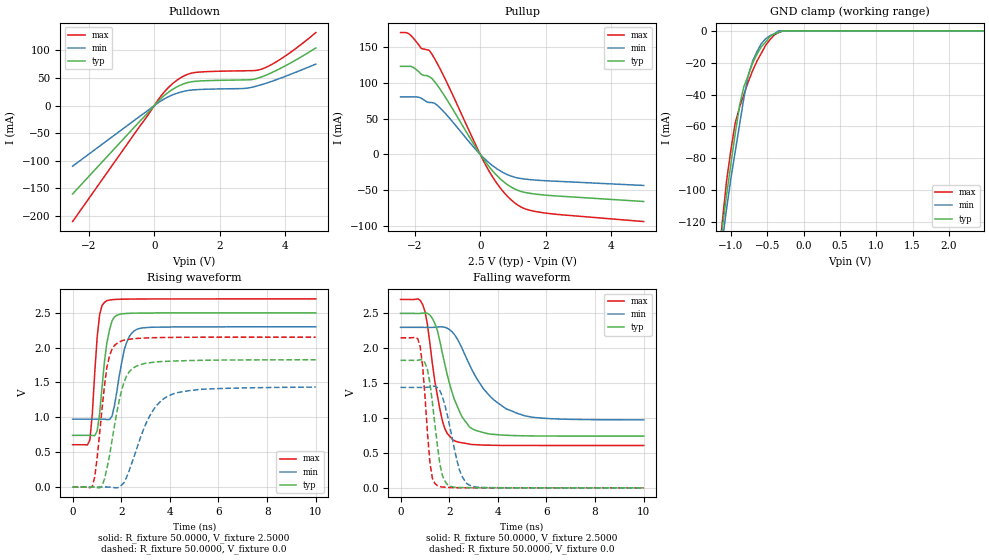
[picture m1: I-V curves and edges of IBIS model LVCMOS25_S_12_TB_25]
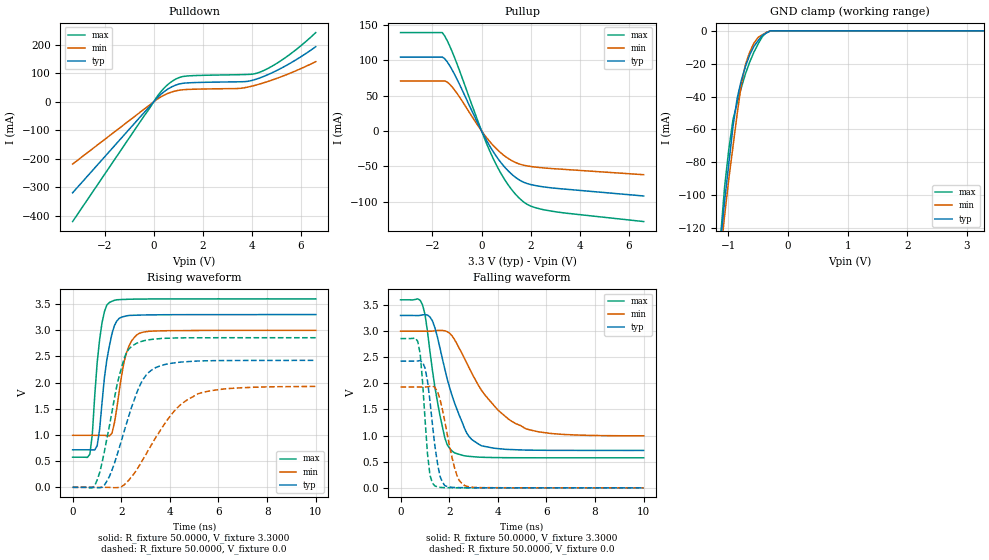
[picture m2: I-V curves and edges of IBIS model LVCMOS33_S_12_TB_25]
| / 7\'7
| \ \   Xilinx Inc.
| / /
| \_\/.\   IBIS Models for Spartan-3A
[IBIS ver]   3.2
[File name]   My2L2Decoder.ibs
[File Rev]   2.3
[Date]   Mon Mar 27 20:15:42 2023
[Source]   HSPICE simulations
[Notes]   IBIS models for Spartan-3A Platform
[Disclaimer]
|   The data in this model is derived from SPICE simulations using
|   modeling information extracted from the target process. While
|   a great deal of care has been taken to provide information
|   that is accurate, this model is considered preliminary as it
|   has not been verified by actual silicon measurement. Treat the
|   data in this model as preliminary until actual silicon
|   verification is performed.
|   To accurately model package parasitics, please follow the
|   instructions at:  http://www.xilinx.com/xlnx/
|   xil_ans_display.jsp?getPagePath=11754
|   LVDS and LVPECL drivers require the use of external
|   termination resistors to provide the correct voltage levels.
|   For more information, refer to the Spartan-3 documentation.
|   NOTE: This file is compliant with IBIS Version 3.2, but it
|   may not implement all approved 3.2 features.
|   NOTE:  Newer versions of the buffer models may be available.
|   Check the web (http://www.xilinx.com/support/sw_ibis.htm) for
|   the latest file revision.  However, please be aware that the
|   web files are not compatible for use with IBISWriter, and
|   must be manually annotated, should their use be preferred.
[Copyright]
| Copyright 2006, Xilinx Inc., All rights reserved
|   Component Spartan-3A
[Component]   Spartan-3A
[Manufacturer]   Xilinx Inc.
[Package]
| For Package Type tq144
| variable   typ   min   max
R_pkg   130.00m   123.00m   137.00m
L_pkg   8.30nH   7.50nH   9.20nH
C_pkg   1.00pF   0.80pF   1.30pF
[Pin]  signal_name   model_name
P55   OUT_7   LVCMOS33_S_12_TB_25
P70   IN_0   LVCMOS33_S_12_TB_25
P69   IN_1   LVCMOS33_S_12_TB_25
P68   IN_2   LVCMOS33_S_12_TB_25
P46   OUT_0   LVCMOS33_S_12_TB_25
P47   OUT_1   LVCMOS33_S_12_TB_25
P48   OUT_2   LVCMOS33_S_12_TB_25
P49   OUT_3   LVCMOS33_S_12_TB_25
P51   OUT_5   LVCMOS33_S_12_TB_25
P54   OUT_6   LVCMOS33_S_12_TB_25
P2   TDI   LVCMOS25_S_12_TB_25
P1   TMS   LVCMOS25_S_12_TB_25
P4   IO_L01P_3   NC
P6   IO_L01N_3   NC
P3   IO_L02P_3   NC
P5   IO_L02N_3   NC
P7   IO_L03P_3   NC
P8   IO_L03N_3   NC
P9   GND   GND
P10   IO_L04P_3   NC
P11   IO_L04N_3/VREF_3   NC
P12   LHCLK0   NC
P13   LHCLK1   NC
P14   VCCO_3   POWER
P15   LHCLK2   NC
P16   IRDY2/LHCLK3   NC
P17   GND   GND
P18   LHCLK4   NC
P20   LHCLK5   NC
P19   TRDY2/LHCLK6   NC
P21   LHCLK7   NC
P22   VCCINT   POWER
P23   VCCO_3   POWER
P24   IO_L09P_3   NC
P25   IO_L09N_3   NC
P26   GND   GND
P27   IO_L10P_3   NC
P29   IO_L10N_3   NC
P28   IO_L11P_3   NC
P30   IO_L11N_3   NC
P31   IO_L12P_3   NC
P32   IO_L12N_3   NC
P33   IP_L13P_3   NC
P35   IP_L13N_3/VREF_3   NC
P34   GND   GND
P36   VCCAUX   POWER
P37   M1   LVCMOS25_S_12_TB_25
P38   M0   LVCMOS25_S_12_TB_25
P39   M2   LVCMOS25_S_12_TB_25
P41   CSO_B   LVCMOS25_S_12_TB_25
P40   VCCO_2   POWER
P42   RDWR_B   LVCMOS25_S_12_TB_25
P43   VS2   LVCMOS25_S_12_TB_25
P44   VS1   LVCMOS25_S_12_TB_25
P45   VS0   LVCMOS25_S_12_TB_25
P50   D5   LVCMOS25_S_12_TB_25
P52   VCCINT   POWER
P53   IP_2/VREF_2   NC
P56   GND   GND
P57   GCLK0   NC
P59   GCLK1   NC
P58   GCLK2   NC
P60   GCLK3   NC
P61   VCCO_2   POWER
P62   2/MOSI/CSI_B   NC
P63   AWAKE   NC
P64   DOUT   LVCMOS25_S_12_TB_25
P65   GND   GND
P66   VCCAUX   POWER
P67   INIT_B   LVCMOS25_S_12_TB_25
P71   D0/DIN/MISO   LVCMOS25_S_12_TB_25
P72   CCLK   LVCMOS25_S_12_TB_25
P73   DONE   LVCMOS25_S_12_TB_25
P74   SUSPEND   LVCMOS25_S_12_TB_25
P76   HDC   LVCMOS25_S_12_TB_25
P78   LDC2   LVCMOS25_S_12_TB_25
P75   LDC1   LVCMOS25_S_12_TB_25
P77   LDC0   LVCMOS25_S_12_TB_25
P79   1   NC
P80   IP_1/VREF_1   NC
P81   GND   GND
P82   IO_L03P_1   NC
P84   IO_L03N_1   NC
P83   RHCLK0   NC
P85   RHCLK1   NC
P86   VCCO_1   POWER
P87   RHCLK2   NC
P88   TRDY1/RHCLK3   NC
P89   GND   GND
P90   RHCLK4   NC
P92   RHCLK5   NC
P91   IRDY1/RHCLK6   NC
P93   RHCLK7   NC
P94   VCCINT   POWER
P95   VCCO_1   POWER
P96   IO_L08P_1   NC
P98   IO_L08N_1   NC
P97   IP_1/VREF_1   NC
P100   GND   GND
P99   IO_L09P_1   NC
P101   IO_L09N_1   NC
P102   IO_L10P_1   NC
P104   IO_L10N_1   NC
P103   IO_L11P_1   NC
P105   IO_L11N_1   NC
P106   GND   GND
P107   TDO   LVCMOS25_S_12_TB_25
P108   VCCAUX   POWER
P109   TCK   LVCMOS25_S_12_TB_25
P110   IO_L01P_0   NC
P111   IO_L01N_0   NC
P112   IO_L02P_0/VREF_0   NC
P113   IO_L02N_0   NC
P115   IO_L03P_0   NC
P117   IO_L03N_0   NC
P114   IO_L04P_0   NC
P116   IO_L04N_0   NC
P118   GND   GND
P119   VCCO_0   POWER
P120   IO_L05P_0   NC
P121   IO_L05N_0   NC
P122   VCCINT   POWER
P124   GCLK4   NC
P126   GCLK5   NC
P123   IP_0/VREF_0   NC
P125   GCLK6   NC
P127   GCLK7   NC
P128   GND   GND
P129   GCLK8   NC
P131   GCLK9   NC
P130   GCLK10   NC
P132   GCLK11   NC
P133   VCCAUX   POWER
P134   IO_L10P_0   NC
P135   IO_L10N_0   NC
P136   VCCO_0   POWER
P137   GND   GND
P138   IO_L11P_0   NC
P139   IO_L11N_0   NC
P142   0   NC
P140   0   NC
P141   IO_L12P_0/VREF_0   NC
P143   PUDC_B   LVCMOS25_S_12_TB_25
P144   PROG_B   LVCMOS25_S_12_TB_25
| Models and submodels in the file (2): LVCMOS25_S_12_TB_25 (I/O), LVCMOS33_S_12_TB_25 (I/O)
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|   Model LVCMOS25_S_12_TB_25
[Model]  LVCMOS25_S_12_TB_25
Model_type I/O
Polarity   Non-Inverting
Enable   Active-Low
Vinl =   0.7000V
Vinh =   1.7000V
Vmeas =  1.2500V
Cref =   0.0F
Rref =   1.0000M
Vref =   0.0V
C_comp   6.5640pF   6.1748pF   7.0674pF
[Temperature Range]   27.0000   85.0000   0.0
[Voltage Range]   2.5000V   2.3000V   2.7000V
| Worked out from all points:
|   slope of the pulldown table from 0 to 0.375 V, typ, clamps not added: 17.4 ohm
|   slope of the pullup table from 0 to 0.375 V, typ, clamps not added: 16.4 ohm
|   GND clamp passes 1 mA (typ) near -0.34 V on its own axis
|   rising waveform, R_fixture 50.0000, V_fixture 2.5000: 20-80 % time 334ps typ, 429ps min, 247ps max; typ from 0.741 V to 2.5 V
|   rising waveform, R_fixture 50.0000, V_fixture 0.0: 20-80 % time 609ps typ, 1.02ns min, 397ps max; typ from 0 V to 1.83 V
|   falling waveform, R_fixture 50.0000, V_fixture 2.5000: 20-80 % time 840ps typ, 1.44ns min, 552ps max; typ from 2.5 V to 0.742 V
|   falling waveform, R_fixture 50.0000, V_fixture 0.0: 20-80 % time 385ps typ, 550ps min, 278ps max; typ from 1.83 V to 0 V
[Pulldown]
|Voltage   I(typ)   I(min)   I(max)
-2.5V     -159.9mA   -109.7mA   -209.9mA
140mV     9.02mA     5.955mA    12.23mA
380mV     21.73mA    14.35mA    29.41mA
620mV     31.35mA    20.65mA    42.48mA
940mV     39.99mA    26.14mA    54.42mA
1.26V     43.77mA    28.56mA    59.79mA
2.78V     46.32mA    30.97mA    62.83mA
3.02V     47.28mA    33.45mA    63.07mA
3.26V     51.27mA    37.32mA    65.38mA
3.58V     59.1mA     43.46mA    73.84mA
3.98V     70.87mA    52.08mA    88.42mA
4.94V     104.1mA    74.91mA    131.9mA
[Pullup]
|Voltage   I(typ)   I(min)   I(max)
-2.44V    123.1mA    80.33mA    170.3mA
-2.2V     123.1mA    80.33mA    169.2mA
-1.8V     111.9mA    78.39mA    148mA
-1.56V    108.7mA    72.56mA    145.5mA
-1.48V    106.1mA    72.56mA    140.2mA
-1.16V    86.53mA    61.81mA    113.4mA
200mV     -13.04mA   -8.956mA   -17.71mA
600mV     -33.58mA   -22.74mA   -46.12mA
1.08V     -48.8mA    -32.15mA   -68.56mA
1.4V      -53.38mA   -34.61mA   -76.46mA
1.96V     -56.7mA    -36.63mA   -81.69mA
5V        -65.74mA   -43.34mA   -93.79mA
[GND_clamp]
|Voltage   I(typ)   I(min)   I(max)
-2.5V     -677.7mA   -618.7mA   -772.5mA
-1.12V    -125mA     -133.4mA   -121.2mA
-1.06V    -103.6mA   -112.3mA   -94.8mA
-940mV    -64.68mA   -75.98mA   -58mA
-880mV    -47mA      -59.03mA   -48mA
-820mV    -35mA      -42.08mA   -40mA
-760mV    -28mA      -28mA      -32mA
-640mV    -14.67mA   -13mA      -19mA
-580mV    -10mA      -8mA       -14mA
-460mV    -3.5mA     -3mA       -5.5mA
-340mV    -1mA       -3fA       -1mA
2.48V     0A         0A         0A
[POWER_clamp]
|Voltage   I(typ)   I(min)   I(max)
-2.49V    0A         0A         0A
-2.46V    0A         0A         0A
-2.43V    0A         0A         0A
0V        0A         0A         0A
[Ramp]
dV/dt_r  1.0956/0.6043n   0.8604/1.0142n   1.2900/0.3974n
dV/dt_f  1.0551/0.8392n   0.7954/1.4220n   1.2559/0.5422n
R_load = 50.0000
[Rising Waveform]
R_fixture= 50.0000
V_fixture= 2.5000
V_fixture_min= 2.3000
V_fixture_max= 2.7000
|time   V(typ)   V(min)   V(max)
0s        741.4mV    973.3mV    606.9mV
710ps     741.4mV    973.3mV    674.2mV
810ps     739.7mV    973.3mV    1.046V
1.01ns    801.5mV    973.4mV    2.149V
1.11ns    1.048V     973.4mV    2.471V
1.41ns    2.069V     968.1mV    2.675V
1.72ns    2.441V     1.167V     2.691V
2.12ns    2.488V     1.965V     2.696V
2.63ns    2.495V     2.261V     2.698V
10ns      2.499V     2.299V     2.7V
[Rising Waveform]
R_fixture= 50.0000
V_fixture= 0.0
|time   V(typ)   V(min)   V(max)
0s        0V         0V         0V
810ps     298uV      -497.5nV   8.107mV
1.01ns    -9.084mV   -2.353uV   421.2mV
1.21ns    15.13mV    4.964uV    1.121V
1.41ns    264.2mV    303.1uV    1.72V
1.82ns    1.074V     -11.92mV   2.06V
2.42ns    1.686V     329.4mV    2.124V
3.13ns    1.781V     992.4mV    2.14V
3.94ns    1.805V     1.306V     2.146V
10ns      1.826V     1.434V     2.15V
[Falling Waveform]
R_fixture= 50.0000
V_fixture= 2.5000
V_fixture_min= 2.3000
V_fixture_max= 2.7000
|time   V(typ)   V(min)   V(max)
0s        2.5V       2.3V       2.7V
910ps     2.504V     2.3V       2.627V
1.11ns    2.501V     2.299V     2.334V
1.41ns    2.359V     2.301V     1.53V
1.72ns    1.932V     2.306V     963.4mV
2.22ns    1.263V     2.197V     673.5mV
2.93ns    849.6mV    1.698V     621.2mV
4.34ns    753.7mV    1.133V     607.8mV
5.76ns    743.1mV    1.001V     606.9mV
10ns      741.5mV    974.3mV    606.9mV
[Falling Waveform]
R_fixture= 50.0000
V_fixture= 0.0
|time   V(typ)   V(min)   V(max)
0s        1.827V     1.439V     2.15V
810ps     1.836V     1.439V     2.018V
910ps     1.834V     1.439V     1.742V
1.21ns    1.498V     1.445V     359.5mV
1.52ns    598.7mV    1.436V     31.89mV
1.72ns    181mV      1.308V     11.63mV
1.92ns    48.9mV     1.05V      6.942mV
2.42ns    5.543mV    259.6mV    1.61mV
2.83ns    2.931mV    39.68mV    791.3uV
10ns      5.195uV    41.11uV    -3.669uV
|   Model LVCMOS33_S_12_TB_25
[Model]  LVCMOS33_S_12_TB_25
Model_type I/O
Polarity   Non-Inverting
Enable   Active-Low
Vinl =   0.8000V
Vinh =   2.0000V
Vmeas =  1.6500V
Cref =   0.0F
Rref =   1.0000M
Vref =   0.0V
C_comp   6.5640pF   6.1748pF   7.0674pF
[Temperature Range]   27.0000   85.0000   0.0
[Voltage Range]   3.3000V   3.0000V   3.6000V
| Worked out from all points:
|   slope of the pulldown table from 0 to 0.495 V, typ, clamps not added: 12.4 ohm
|   slope of the pullup table from 0 to 0.495 V, typ, clamps not added: 16.2 ohm
|   GND clamp passes 1 mA (typ) near -0.34 V on its own axis
|   rising waveform, R_fixture 50.0000, V_fixture 3.3000: 20-80 % time 415ps typ, 461ps min, 331ps max; typ from 0.717 V to 3.3 V
|   rising waveform, R_fixture 50.0000, V_fixture 0.0: 20-80 % time 1.02ns typ, 1.65ns min, 756ps max; typ from 0 V to 2.42 V
|   falling waveform, R_fixture 50.0000, V_fixture 3.3000: 20-80 % time 984ps typ, 1.74ns min, 609ps max; typ from 3.3 V to 0.717 V
|   falling waveform, R_fixture 50.0000, V_fixture 0.0: 20-80 % time 378ps typ, 519ps min, 269ps max; typ from 2.42 V to 0 V
[Pulldown]
|Voltage   I(typ)   I(min)   I(max)
-3.3V     -318.9mA   -218.2mA   -419.8mA
100mV     9.856mA    6.505mA    13.37mA
400mV     33.96mA    22.42mA    45.97mA
700mV     50.92mA    33.48mA    69.04mA
1V        61.63mA    40.23mA    83.97mA
1.3V      65.96mA    43.06mA    90.1mA
3.5V      70.4mA     47.18mA    95.29mA
3.9V      73.03mA    53.06mA    96.32mA
4.3V      83.21mA    62.07mA    103.4mA
4.8V      101.1mA    75.82mA    124.1mA
5.4V      127.6mA    95.01mA    157.3mA
6.6V      193.4mA    140.8mA    242.9mA
[Pullup]
|Voltage   I(typ)   I(min)   I(max)
-3.3V     104.3mA    70.56mA    138.9mA
-1.6V     104.3mA    70.56mA    138.9mA
-1.4V     97.62mA    69.08mA    127.6mA
-1.2V     86.28mA    62.17mA    112.1mA
100mV     -6.808mA   -4.816mA   -9.019mA
500mV     -30.74mA   -21.57mA   -40.96mA
800mV     -45.31mA   -31.54mA   -60.74mA
1.1V      -57.07mA   -39.31mA   -77.09mA
1.7V      -72.39mA   -48.37mA   -100.1mA
2.1V      -76.6mA    -50.74mA   -107.5mA
2.9V      -80.68mA   -53.32mA   -113.7mA
6.6V      -91.96mA   -61.89mA   -128.1mA
[GND_clamp]
|Voltage   I(typ)   I(min)   I(max)
-3.3V     -1A        -900mA     -1.15A
-1.13V    -128.6mA   -136.9mA   -126mA
-1.06V    -103.6mA   -112.3mA   -94.8mA
-990mV    -80.74mA   -90.11mA   -72mA
-920mV    -58.26mA   -70.33mA   -54mA
-850mV    -41mA      -50.55mA   -44mA
-780mV    -30mA      -32.5mA    -34.5mA
-710mV    -21.5mA    -20.25mA   -26mA
-570mV    -9.5mA     -7.5mA     -13mA
-430mV    -2.75mA    -2.4mA     -3.625mA
-360mV    -1.333mA   -1mA       -1mA
3.28V     0A         0A         0A
[POWER_clamp]
|Voltage   I(typ)   I(min)   I(max)
-3.28V    0A         0A         0A
-3.24V    0A         0A         0A
-3.2V     0A         0A         0A
0V        0A         0A         0A
[Ramp]
dV/dt_r  1.4550/1.0131n   1.1562/1.6420n   1.7148/0.7463n
dV/dt_f  1.5500/0.9744n   1.2029/1.7273n   1.8148/0.5990n
R_load = 50.0000
[Rising Waveform]
R_fixture= 50.0000
V_fixture= 3.3000
V_fixture_min= 3.0000
V_fixture_max= 3.6000
|time   V(typ)   V(min)   V(max)
0s        716.6mV    993.5mV    575.3mV
710ps     716.6mV    993.5mV    632.3mV
1.01ns    794.7mV    993.5mV    2.382V
1.11ns    1.101V     993.6mV    2.818V
1.31ns    2.101V     993mV      3.359V
1.52ns    2.716V     983.7mV    3.533V
1.82ns    3.179V     1.515V     3.583V
2.22ns    3.275V     2.574V     3.591V
2.73ns    3.29V      2.938V     3.596V
10ns      3.3V       2.999V     3.6V
[Rising Waveform]
R_fixture= 50.0000
V_fixture= 0.0
|time   V(typ)   V(min)   V(max)
0s        0V         0V         0V
1.01ns    -7.937mV   -3.848uV   139.5mV
1.41ns    118mV      -506.4uV   932.2mV
1.92ns    756.7mV    -1.627mV   2.134V
2.22ns    1.224V     90.54mV    2.58V
2.53ns    1.665V     261.9mV    2.724V
3.33ns    2.265V     881.5mV    2.829V
4.24ns    2.381V     1.486V     2.853V
5.15ns    2.413V     1.786V     2.857V
10ns      2.425V     1.927V     2.858V
[Falling Waveform]
R_fixture= 50.0000
V_fixture= 3.3000
V_fixture_min= 3.0000
V_fixture_max= 3.6000
|time   V(typ)   V(min)   V(max)
0s        3.3V       3V         3.6V
910ps     3.312V     3V         3.497V
1.31ns    3.199V     3.001V     2.259V
1.72ns    2.474V     3.013V     1.174V
1.92ns    2.084V     2.99V      825.3mV
2.22ns    1.627V     2.839V     669.8mV
2.73ns    1.042V     2.382V     607.1mV
3.23ns    831.6mV    1.943V     587.7mV
5.15ns    722.8mV    1.131V     575.7mV
10ns      716.6mV    995.2mV    575.3mV
[Falling Waveform]
R_fixture= 50.0000
V_fixture= 0.0
|time   V(typ)   V(min)   V(max)
0s        2.425V     1.93V      2.858V
710ps     2.429V     1.93V      2.803V
810ps     2.437V     1.93V      2.561V
1.01ns    2.289V     1.93V      1.302V
1.21ns    1.668V     1.943V     243mV
1.41ns    811.4mV    1.925V     36.61mV
1.82ns    42.85mV    1.274V     4.319mV
2.22ns    7.007mV    385.9mV    1.6mV
2.63ns    3.054mV    46.14mV    556.7uV
10ns      2.244uV    52.32uV    -1.342uV
